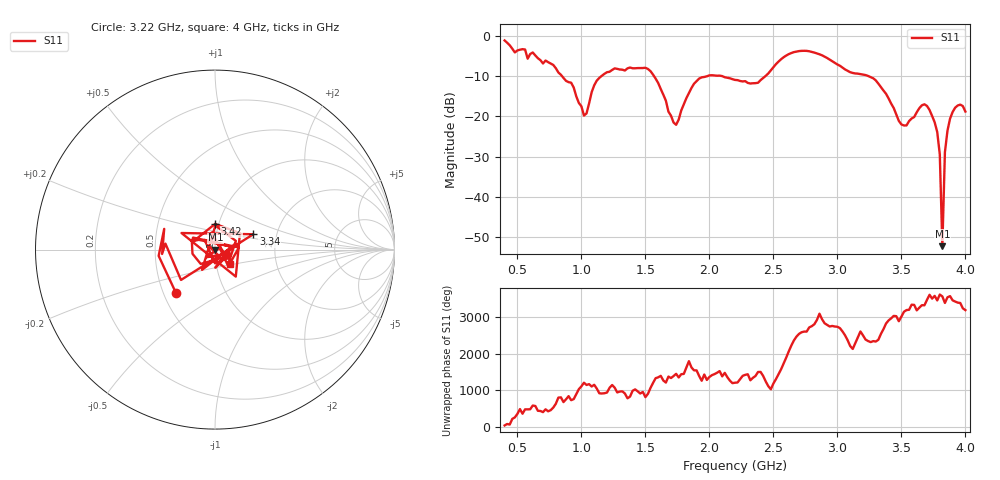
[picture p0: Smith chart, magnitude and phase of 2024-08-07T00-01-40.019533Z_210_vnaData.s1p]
!Created with skrf (http://scikit-rf.org).
# Hz S RI R 50.0
!freq ReS11 ImS11
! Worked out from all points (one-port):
!   181 points, 400 MHz to 4 GHz, reference 50 ohm
!   lowest |S11| = -52.2 dB at 3.82 GHz (marker M1), VSWR 1.00, Z = 50.2 - j0.116 ohm
!   |S11| at or under -10 dB: 1.566 GHz to 1.988 GHz (421.3 MHz wide, 23.7 % of centre); 2.093 GHz to 2.439 GHz (345.9 MHz wide, 15.3 % of centre); 3.239 GHz to end of sweep (the widest 3 of 4)
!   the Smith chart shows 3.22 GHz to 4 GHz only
!   S11 on the Smith chart (normalised r, x): 3.22 GHz: 0.58, -0.31; 3.34 GHz: 1.51, +0.27; 3.42 GHz: 0.96, +0.28; 4 GHz: 1.16, -0.19
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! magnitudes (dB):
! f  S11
! 400 MHz  -1.2
! 860 MHz  -10.5
! 920 MHz  -11.7
! 1.02 GHz  -19.8
! 1.12 GHz  -11.2
! 1.3 GHz  -8.4
! 1.52 GHz  -8.3
! 1.6 GHz  -11.8
! 1.72 GHz  -21.6
! 1.76 GHz  -20.8
! 1.92 GHz  -10.6
! 2.2 GHz  -11.0
! 2.38 GHz  -11.7
! 2.66 GHz  -4.1
! 3.1 GHz  -9.1
! 3.22 GHz  -9.8
! 3.34 GHz  -12.8
! 3.42 GHz  -16.9
! 3.5 GHz  -22.0
! 3.56 GHz  -21.2
! 3.68 GHz  -17.0
! 3.76 GHz  -21.5
! 3.8 GHz  -29.5
! 3.82 GHz  -52.2
! 3.84 GHz  -28.9
! 3.86 GHz  -23.6
! 3.92 GHz  -17.9
! 4 GHz  -18.8
